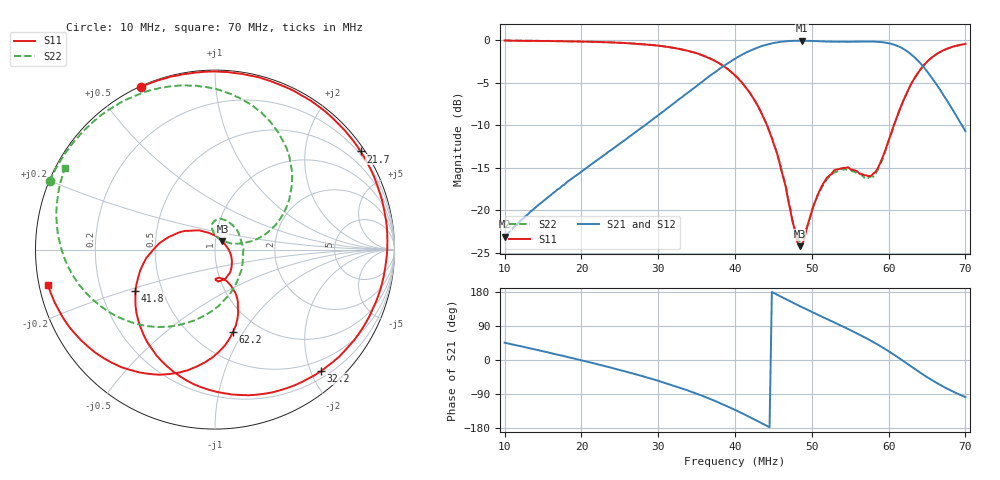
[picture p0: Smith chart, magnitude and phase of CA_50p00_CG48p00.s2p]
#  HZ  S  RI  R  50.00
! Rohde & Schwarz ZVT8 8Ports - Version 4.11 - 1300.0000k08 SN: 100242
! Date: 2026-07-31 15:12:19
! Measurements: S11 S21 S12 S22
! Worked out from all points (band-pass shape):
!   201 points, 10 MHz to 70 MHz, reference 50 ohm
!   highest |S21| = -0.05 dB at 48.7 MHz (marker M1); lowest = -23.1 dB at 10 MHz (marker M2)
!   |S21| within 3 dB of the highest: 38.49 MHz to 64.47 MHz (25.97 MHz wide, 50.5 % of centre)
!   lowest |S11| = -24.2 dB at 48.4 MHz (marker M3), VSWR 1.13, Z = 54.1 + j4.94 ohm
!   |S11| at or under -10 dB: 44.16 MHz to 60.69 MHz (16.52 MHz wide, 31.5 % of centre)
!   |S22| runs from -23.7 to 0.0 dB; largest |S21 - S12| = 0.0029
!   S11 on the Smith chart (normalised r, x): 10 MHz: 0.00, +0.65; 21.7 MHz: 0.13, +3.27; 32.2 MHz: 0.31, -2.17; 41.8 MHz: 0.35, -0.22; 62.2 MHz: 0.76, -0.90; 70 MHz: 0.02, -0.11
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1e7  -0.4102 0.9084  0.0487 0.0499  0.0485 0.0498  -0.9208 0.3808
1.51e7  0.1721 0.9745  0.105 0.0434  0.1048 0.0433  -0.8133 0.5638
2.02e7  0.6979 0.69  0.1712 -0.00521  0.1707 -0.00529  -0.6593 0.7269
2.17e7  0.8109 0.5471  0.1896 -0.0307  0.1894 -0.0302  -0.6033 0.7714
2.62e7  0.9599 0.0076  0.2266 -0.1472  0.2263 -0.1466  -0.3912 0.8778
3.01e7  0.7984 -0.473  0.2064 -0.3005  0.2073 -0.3003  -0.161 0.9151
3.22e7  0.5921 -0.6766  0.1549 -0.4021  0.154 -0.4017  -0.0179 0.8988
3.61e7  0.0571 -0.8013  -0.0771 -0.5829  -0.0762 -0.5816  0.2579 0.7641
4e7  -0.3964 -0.4783  -0.5167 -0.581  -0.5174 -0.5801  0.426 0.453
4.18e7  -0.4433 -0.231  -0.7413 -0.4378  -0.7403 -0.4392  0.4141 0.2803
4.51e7  -0.2254 0.0846  -0.9635 0.0626  -0.9623 0.0624  0.2365 0.0606
4.84e7  0.0412 0.0455  -0.7895 0.6034  -0.7874 0.6036  0.0377 0.0537
4.87e7  0.0539 0.0313  -0.757 0.6448  -0.7565 0.6425  0.0256 0.061
5.02e7  0.0927 -0.0499  -0.5682 0.8105  -0.5694 0.81  -0.0113 0.1052
5.29e7  0.0599 -0.1606  -0.1607 0.9673  -0.1602 0.9672  0.00721 0.1663
5.56e7  0.00607 -0.1715  0.2845 0.9392  0.283 0.9376  0.0989 0.1363
5.8e7  0.0348 -0.1605  0.6637 0.7242  0.6627 0.7219  0.1563 -0.0198
6.01e7  0.1126 -0.2392  0.8895 0.3582  0.888 0.3561  0.0813 -0.2506
6.22e7  0.1006 -0.4598  0.8684 -0.1018  0.8685 -0.1021  -0.2084 -0.4218
6.4e7  -0.1022 -0.6515  0.6335 -0.3911  0.6314 -0.3924  -0.5406 -0.3753
6.58e7  -0.4185 -0.685  0.3372 -0.4811  0.3361 -0.4809  -0.7881 -0.1499
7e7  -0.9309 -0.1985  -0.0404 -0.2892  -0.041 -0.2892  -0.836 0.4546
